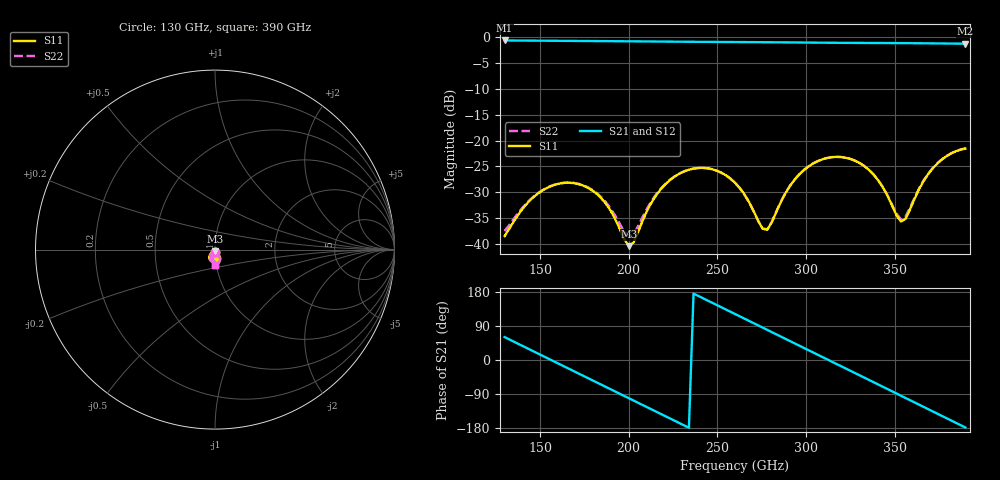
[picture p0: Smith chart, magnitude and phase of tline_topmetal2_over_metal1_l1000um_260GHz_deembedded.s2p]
! Created with skrf 2.2.0 (http://scikit-rf.org).
# GHz S DB R 50.0
! Port[1] = P1
! Port[2] = P2
!freq dBS11 angS11 dBS21 angS21 dBS12 angS12 dBS22 angS22
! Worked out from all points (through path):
!   101 points, 130 GHz to 390 GHz, reference 50 ohm
!   highest |S21| = -0.60 dB at 130 GHz (marker M1); lowest = -1.2 dB at 390 GHz (marker M2)
!   group delay of S21, straight-line fit = 6.39 ps
!   lowest |S11| = -40.5 dB at 200.2 GHz (marker M3), VSWR 1.02, Z = 49.8 - j0.926 ohm
!   |S11| at or under -10 dB: start of sweep to end of sweep
!   |S22| runs from -38.6 to -21.5 dB; largest |S21 - S12| = 1.6e-13
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130  -38.53 -76.6  -0.60 60.4  -0.60 60.4  -37.54 -81.4
143  -32.08 -68.6  -0.62 30.5  -0.62 30.5  -31.93 -71.8
153.4  -29.27 -82.6  -0.65 6.5  -0.65 6.5  -29.23 -84.2
163.8  -28.21 -100.3  -0.67 -17.4  -0.67 -17.4  -28.17 -100.7
174.2  -28.72 -118.5  -0.70 -41.3  -0.70 -41.3  -28.65 -117.7
187.2  -32.28 -136.4  -0.73 -71.2  -0.73 -71.2  -31.99 -133.2
200.2  -40.48 -100.8  -0.76 -101.1  -0.76 -101.1  -38.55 -101.2
218.4  -29.33 -59.8  -0.81 -142.9  -0.81 -142.9  -29.21 -64.4
228.8  -26.39 -76.4  -0.84 -166.8  -0.84 -166.8  -26.37 -79.5
239.2  -25.32 -95.3  -0.86 169.3  -0.86 169.3  -25.33 -97.7
260  -28.18 -129.9  -0.90 121.4  -0.90 121.4  -28.23 -131.2
278.2  -37.29 -86.8  -0.94 79.5  -0.94 79.5  -37.19 -86.9
291.2  -28.71 -55.9  -0.98 49.5  -0.98 49.5  -28.66 -56.7
304.2  -24.43 -73.7  -1.01 19.6  -1.01 19.6  -24.41 -74.3
314.6  -23.23 -92.2  -1.04 -4.3  -1.04 -4.3  -23.22 -92.5
325  -23.56 -110.9  -1.07 -28.2  -1.07 -28.2  -23.55 -110.9
338  -26.53 -130.8  -1.09 -58.1  -1.09 -58.1  -26.51 -130.3
348.4  -32.44 -129.4  -1.10 -82.1  -1.10 -82.1  -32.28 -127.9
353.6  -35.71 -99.9  -1.11 -94.1  -1.11 -94.1  -35.29 -99.1
356.2  -35.20 -78.0  -1.12 -100.1  -1.12 -100.1  -34.78 -78.6
371.8  -25.31 -58.3  -1.16 -136.2  -1.16 -136.2  -25.24 -58.9
390  -21.56 -88.2  -1.22 -178.1  -1.22 -178.1  -21.53 -88.2
